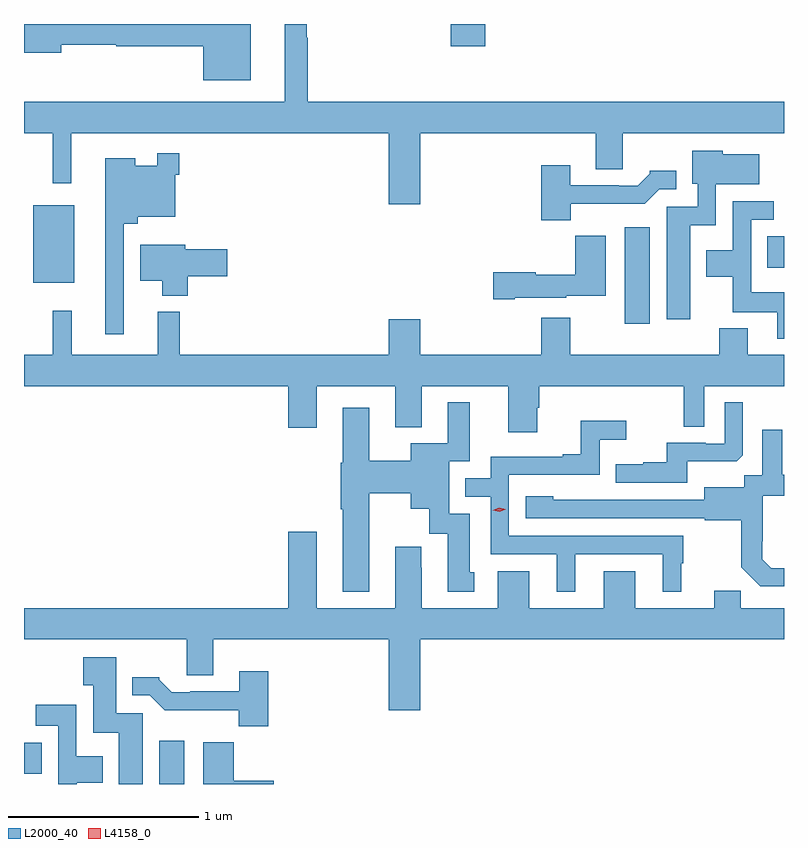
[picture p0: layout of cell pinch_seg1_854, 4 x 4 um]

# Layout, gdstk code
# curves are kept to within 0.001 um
import gdstk
lib = gdstk.Library(unit=1e-6, precision=1e-09)
def R(c, l, rs):  # rectangles x0, y0, x1, y1
    for r in rs: c.add(gdstk.rectangle(r[:2], r[2:], *l))
def P(c, l, *ps):  # polygons
    for p in ps: c.add(gdstk.Polygon(p, *l))
L2000_40 = (2000, 40)
L4158_0 = (4158, 0)

pinch_seg1_854 = lib.new_cell('pinch_seg1_854')
R(pinch_seg1_854, L2000_40, [(559.403,534.986,559.534,535.213), (558.691,535.04,558.785,535.204), (561.854,537.408,561.985,537.916), (558.74,537.623,558.955,538.033), (562.603,537.704,562.691,537.868), (560.936,538.869,561.119,538.986)])
P(pinch_seg1_854, L2000_40, [(560.776,538.412),(561.701,538.412),(561.701,538.222),(561.841,538.222),(561.841,538.412),(562.691,538.412),(562.691,538.576),(560.185,538.576),(560.185,538.913),(560.178,538.913),(560.178,538.986),(560.063,538.986),(560.063,538.576),(558.691,538.576),(558.691,538.412),(558.842,538.412),(558.842,538.149),(558.94,538.149),(558.94,538.412),(560.612,538.412),(560.612,538.038),(560.776,538.038)],
  [(559.885,538.986),(558.691,538.986),(558.691,538.835),(558.886,538.835),(558.886,538.878),(559.176,538.878),(559.176,538.87),(559.634,538.87),(559.634,538.691),(559.885,538.691)],
  [(562.198,537.926),(562.332,537.926),(562.332,538.142),(562.561,538.142),(562.561,538.3),(562.368,538.3),(562.368,538.318),(562.208,538.318),(562.208,538.146),(562.236,538.146),(562.236,538.023),(562.073,538.023),(562.073,537.432),(562.198,537.432)],
  [(559.215,537.935),(559.289,537.935),(559.289,537.971),(559.488,537.971),(559.488,538.193),(559.508,538.193),(559.508,538.306),(559.392,538.306),(559.392,538.24),(559.276,538.24),(559.276,538.279),(559.118,538.279),(559.118,537.354),(559.215,537.354)],
  [(561.568,538.04),(561.959,538.04),(562.035,538.116),(562.123,538.116),(562.123,538.213),(561.984,538.213),(561.984,538.198),(561.92,538.134),(561.821,538.134),(561.821,538.137),(561.565,538.137),(561.565,538.243),(561.413,538.243),(561.413,537.953),(561.568,537.953)],
  [(562.691,537.574),(562.518,537.574),(562.518,537.957),(562.636,537.957),(562.636,538.053),(562.422,538.053),(562.422,537.796),(562.283,537.796),(562.283,537.656),(562.42,537.656),(562.42,537.47),(562.655,537.47),(562.655,537.33),(562.691,537.33)],
  [(561.274,537.545),(561.546,537.545),(561.546,537.557),(561.754,537.557),(561.754,537.871),(561.592,537.871),(561.592,537.667),(561.384,537.667),(561.384,537.68),(561.162,537.68),(561.162,537.538),(561.274,537.538)],
  [(559.553,537.658),(559.762,537.658),(559.762,537.8),(559.54,537.8),(559.54,537.823),(559.304,537.823),(559.304,537.635),(559.418,537.635),(559.418,537.557),(559.553,537.557)],
  [(561.391,536.967),(561.404,536.967),(561.404,537.08),(562.164,537.08),(562.164,536.866),(562.272,536.866),(562.272,537.08),(562.691,537.08),(562.691,537.244),(562.501,537.244),(562.501,537.385),(562.349,537.385),(562.349,537.244),(561.565,537.244),(561.565,537.439),(561.413,537.439),(561.413,537.244),(560.776,537.244),(560.776,537.433),(560.612,537.433),(560.612,537.244),(559.511,537.244),(559.511,537.472),(559.394,537.472),(559.394,537.244),(558.941,537.244),(558.941,537.478),(558.842,537.478),(558.842,537.244),(558.691,537.244),(558.691,537.08),(560.081,537.08),(560.081,536.862),(560.233,536.862),(560.233,537.08),(560.645,537.08),(560.645,536.864),(560.785,536.864),(560.785,537.08),(561.239,537.08),(561.239,536.838),(561.391,536.838)],
  [(562.183,536.684),(562.441,536.684),(562.473,536.715),(562.473,536.995),(562.38,536.995),(562.38,536.778),(562.28,536.778),(562.28,536.781),(562.073,536.781),(562.073,536.68),(561.949,536.68),(561.949,536.668),(561.805,536.668),(561.805,536.571),(562.183,536.571)],
  [(560.509,536.516),(560.726,536.516),(560.726,536.435),(560.825,536.435),(560.825,536.304),(560.921,536.304),(560.921,535.998),(561.061,535.998),(561.061,536.1),(561.037,536.1),(561.037,536.409),(560.928,536.409),(560.928,536.685),(561.037,536.685),(561.037,536.995),(560.921,536.995),(560.921,536.779),(560.726,536.779),(560.726,536.688),(560.509,536.688),(560.509,536.965),(560.369,536.965),(560.369,536.676),(560.357,536.676),(560.357,536.432),(560.369,536.432),(560.369,535.997),(560.509,535.997)],
  [(561.592,536.196),(562.052,536.196),(562.052,535.997),(562.15,535.997),(562.15,536.148),(562.162,536.148),(562.162,536.292),(561.243,536.292),(561.243,536.613),(561.72,536.613),(561.72,536.798),(561.862,536.798),(561.862,536.897),(561.622,536.897),(561.622,536.722),(561.527,536.722),(561.527,536.709),(561.147,536.709),(561.147,536.595),(561.014,536.595),(561.014,536.499),(561.147,536.499),(561.147,536.196),(561.494,536.196),(561.494,535.997),(561.592,535.997)],
  [(562.691,536.121),(562.623,536.121),(562.576,536.168),(562.576,536.263),(562.578,536.263),(562.578,536.504),(562.691,536.504),(562.691,536.614),(562.681,536.614),(562.681,536.851),(562.577,536.851),(562.577,536.612),(562.482,536.612),(562.482,536.548),(562.271,536.548),(562.271,536.481),(561.477,536.482),(561.477,536.5),(561.333,536.5),(561.333,536.385),(562.275,536.385),(562.275,536.373),(562.467,536.373),(562.467,536.127),(562.567,536.027),(562.691,536.027)],
  [(560.776,535.748),(562.691,535.748),(562.691,535.912),(562.463,535.912),(562.463,536.003),(562.325,536.003),(562.325,535.912),(561.907,535.912),(561.907,536.107),(561.743,536.107),(561.743,535.912),(561.349,535.912),(561.349,536.107),(561.185,536.107),(561.185,535.912),(560.785,535.912),(560.785,536.123),(560.782,536.123),(560.782,536.236),(560.645,536.236),(560.645,535.912),(560.233,535.912),(560.233,536.314),(560.081,536.314),(560.081,535.912),(558.691,535.912),(558.691,535.748),(559.547,535.748),(559.547,535.558),(559.687,535.558),(559.687,535.748),(560.612,535.748),(560.612,535.374),(560.776,535.374)],
  [(559.315,535.359),(559.177,535.359),(559.177,535.654),(559.004,535.654),(559.004,535.507),(559.055,535.507),(559.055,535.256),(559.19,535.256),(559.19,534.986),(559.315,534.986)],
  [(559.976,535.579),(559.823,535.579),(559.823,535.473),(559.567,535.473),(559.567,535.47),(559.468,535.47),(559.404,535.534),(559.404,535.549),(559.262,535.549),(559.262,535.452),(559.353,535.452),(559.432,535.374),(559.821,535.374),(559.821,535.289),(559.976,535.289)],
  [(558.969,534.992),(559.105,534.992),(559.105,535.132),(558.966,535.132),(558.966,535.402),(558.753,535.402),(558.753,535.293),(558.87,535.293),(558.87,534.986),(558.969,534.986)],
  [(560.005,535.003),(559.796,535.003),(559.796,535.207),(559.634,535.207),(559.634,534.986),(560.005,534.986)])
P(pinch_seg1_854, L4158_0, [(561.194,536.42),(561.158,536.427),(561.158,536.427),(561.158,536.427),(561.192,536.44),(561.227,536.433),(561.227,536.432),(561.227,536.432)])

lib.write_gds('pinch_seg1_854.gds')
